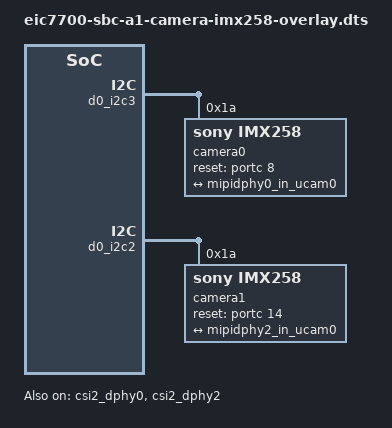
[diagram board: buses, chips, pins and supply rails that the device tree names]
/* SPDX-License-Identifier: GPL-2.0 */
/*
 * Copyright 2026, Beijing ESWIN Computing Technology Co., Ltd.. All rights reserved.
 *
 */

/dts-v1/;
/plugin/;

/ {
	fragment@0 {
		target = <&mipidphy0_in_ucam0>;
		__overlay__ {
			remote-endpoint = <&imx258_out0>;
			data-lanes = <1 2 3 4>;
		};
	};

	fragment@1 {
		target = <&mipidphy2_in_ucam0>;
		__overlay__ {
			remote-endpoint = <&imx258_out1>;
			data-lanes = <1 2 3 4>;
		};
	};

	fragment@2 {
		target = <&csi2_dphy0>;
		__overlay__ {
			status = "okay";
		};
	};

	fragment@3 {
		target = <&csi2_dphy2>;
		__overlay__ {
			status = "okay";
		};
	};

	fragment@4 {
		target = <&d0_i2c3>;
		__overlay__ {
			#address-cells = <1>;
			#size-cells = <0>;
			camera0:camera0@1a {
				compatible = "sony,imx258";
				reg = <0x1a>;
				clock-names="xvclk";
				clocks = <&d0_clock 0x244>;
				assigned-clocks = <&d0_clock 0x244>;
				assigned-clock-rates = <24000000>;
				pinctrl-names = "default";
				pinctrl-0 = <&pinctrl_gpio72_default>;
				reset-gpio = <&portc 8 0>;
				power-domains = <&d0_pmu 2>;
				status = "okay";
				port {
					imx258_out0: endpoint {
						remote-endpoint = <&mipidphy0_in_ucam0>;
						data-lanes = <1 2 3 4>;
						link-frequencies = /bits/ 64 <891000000>;
					};
				};
			};
		};
	};

	fragment@5 {
		target = <&d0_i2c2>;
		__overlay__ {
			#address-cells = <1>;
			#size-cells = <0>;
			camera1:camera1@1a {
				compatible = "sony,imx258";
				reg = <0x1a>;
				clock-names="xvclk";
				clocks = <&d0_clock 0x244>;
				assigned-clocks = <&d0_clock 0x244>;
				assigned-clock-rates = <24000000>;
				pinctrl-names = "default";
				pinctrl-0 = <&pinctrl_gpio78_default>;
				reset-gpio = <&portc 14 0>;
				power-domains = <&d0_pmu 2>;
				status = "okay";
				port {
					imx258_out1: endpoint {
						remote-endpoint = <&mipidphy2_in_ucam0>;
						data-lanes = <1 2 3 4>;
						link-frequencies = /bits/ 64 <891000000>;
					};
				};
			};
		};
	};

	fragment@6 {
		target = <&imx219_0>;
		__overlay__ {
			status="disabled";
		};
	};

	fragment@7 {
		target = <&imx219_1>;
		__overlay__ {
			status="disabled";
		};
	};

	fragment@8 {
		target = <&csi2_dphy_hw0>;
		__overlay__ {
			lanes = <1 2 3 4>;
			lanes-dp-dn = <0 0 0 0>;
		};
	};

	fragment@9 {
		target = <&csi2_dphy_hw2>;
		__overlay__ {
			lanes = <1 2 3 4>;
			lanes-dp-dn = <0 0 0 0>;
		};
	};

	fragment@10 {
		target = <&vi_subsys>;
		__overlay__ {
			phy_mode = <2>;
		};
	};
};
